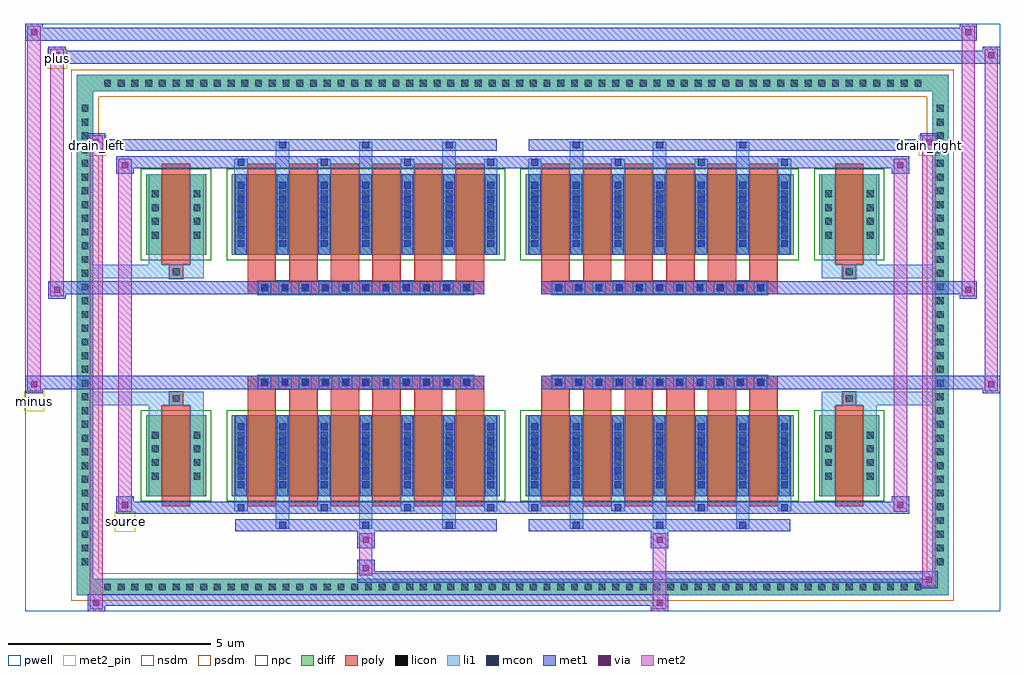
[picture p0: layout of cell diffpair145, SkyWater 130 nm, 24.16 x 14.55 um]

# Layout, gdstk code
import gdstk
lib = gdstk.Library(unit=1e-6, precision=5e-09)
def R(c, l, rs):  # rectangles x0, y0, x1, y1
    for r in rs: c.add(gdstk.rectangle(r[:2], r[2:], *l))
def A(c, l, x, y, w, h, nx, ny, dx, dy):  # array of equal rectangles
    R(c, l, [(x+i*dx, y+j*dy, x+i*dx+w, y+j*dy+h) for i in range(nx) for j in range(ny)])
def P(c, l, *ps):  # polygons
    for p in ps: c.add(gdstk.Polygon(p, *l))
pwell = (64, 44)
diff = (65, 20)
poly = (66, 20)
licon = (66, 44)
li1 = (67, 20)
mcon = (67, 44)
met1 = (68, 20)
via = (68, 44)
met2_pin = (69, 16)
met2 = (69, 20)
nsdm = (93, 44)
psdm = (94, 20)
npc = (95, 20)

diffpair145 = lib.new_cell('diffpair145')
R(diffpair145, pwell, [(-12.06,-6.84,12.06,7.71), (-9.38,-5.03,-0.01,-0.805), (0.01,-5.03,9.38,-0.805), (-9.38,0.805,-0.01,5.03), (0.01,0.805,9.38,5.03)])
A(diffpair145, diff, -10.235, -6.44, 0.41, 0.41, 60, 2, 0.34, 12.47)
A(diffpair145, diff, -10.79, -5.815, 0.41, 0.41, 1, 34, 0, 0.34)
A(diffpair145, diff, 10.38, -5.815, 0.41, 0.41, 1, 34, 0, 0.34)
R(diffpair145, diff, [(-10.235,-6.44,10.235,-6.03), (-10.79,-5.815,-10.38,5.815), (10.38,-5.815,10.79,5.815), (-9.07,-3.985,-7.59,-1.985), (-6.95,-3.985,-0.32,-1.985), (0.32,-3.985,6.95,-1.985), (7.59,-3.985,9.07,-1.985), (-9.07,1.985,-7.59,3.985), (-6.95,1.985,-0.32,3.985), (0.32,1.985,6.95,3.985), (7.59,1.985,9.07,3.985), (-10.235,6.03,10.235,6.44)])
P(diffpair145, diff, [(10.79,6.44),(-10.79,6.44),(-10.79,-6.03),(-10.38,-6.03),(-10.38,6.03),(10.38,6.03),(10.38,-6.03),(-10.38,-6.03),(-10.79,-6.03),(-10.79,-6.44),(10.79,-6.44)])
A(diffpair145, poly, -6.56, -4.235, 0.7, 2.5, 6, 2, 1.03, 5.97)
A(diffpair145, poly, 0.71, -4.235, 0.7, 2.5, 6, 2, 1.03, 5.97)
A(diffpair145, poly, -6.56, -1.735, 0.7, 0.4, 6, 2, 1.03, 3.07)
A(diffpair145, poly, 0.71, -1.735, 0.7, 0.4, 6, 2, 1.03, 3.07)
A(diffpair145, poly, -6.3, -1.335, 0.33, 0.33, 11, 2, 0.5, 2.34)
A(diffpair145, poly, 0.97, -1.335, 0.33, 0.33, 11, 2, 0.5, 2.34)
R(diffpair145, poly, [(-8.68,-4.235,-7.98,-1.735), (7.98,-4.235,8.68,-1.735), (-8.495,-1.735,-8.165,-1.405), (-8.495,-1.735,-8.165,-1.405), (8.165,-1.735,8.495,-1.405), (8.165,-1.735,8.495,-1.405), (-6.56,-1.335,-0.71,-1.005), (0.71,-1.335,6.56,-1.005), (-6.56,1.005,-0.71,1.335), (0.71,1.005,6.56,1.335), (-8.495,1.405,-8.165,1.735), (-8.495,1.405,-8.165,1.735), (8.165,1.405,8.495,1.735), (8.165,1.405,8.495,1.735), (-8.68,1.735,-7.98,4.235), (7.98,1.735,8.68,4.235)])
A(diffpair145, licon, -10.115, -6.32, 0.17, 0.17, 60, 2, 0.34, 12.47)
A(diffpair145, licon, -10.67, -5.695, 0.17, 0.17, 1, 34, 0, 0.34)
A(diffpair145, licon, 10.5, -5.695, 0.17, 0.17, 1, 34, 0, 0.34)
A(diffpair145, licon, -8.93, -3.58, 0.17, 0.17, 1, 4, 0, 0.34)
A(diffpair145, licon, -7.9, -3.58, 0.17, 0.17, 1, 4, 0, 0.34)
A(diffpair145, licon, -6.81, -3.58, 0.17, 0.17, 7, 4, 1.03, 0.34)
A(diffpair145, licon, 0.46, -3.58, 0.17, 0.17, 7, 4, 1.03, 0.34)
A(diffpair145, licon, 7.73, -3.58, 0.17, 0.17, 1, 4, 0, 0.34)
A(diffpair145, licon, 8.76, -3.58, 0.17, 0.17, 1, 4, 0, 0.34)
A(diffpair145, licon, -6.22, -1.255, 0.17, 0.17, 11, 2, 0.5, 2.34)
A(diffpair145, licon, 1.05, -1.255, 0.17, 0.17, 11, 2, 0.5, 2.34)
A(diffpair145, licon, -8.93, 2.39, 0.17, 0.17, 1, 4, 0, 0.34)
A(diffpair145, licon, -7.9, 2.39, 0.17, 0.17, 1, 4, 0, 0.34)
A(diffpair145, licon, -6.81, 2.39, 0.17, 0.17, 7, 4, 1.03, 0.34)
A(diffpair145, licon, 0.46, 2.39, 0.17, 0.17, 7, 4, 1.03, 0.34)
A(diffpair145, licon, 7.73, 2.39, 0.17, 0.17, 1, 4, 0, 0.34)
A(diffpair145, licon, 8.76, 2.39, 0.17, 0.17, 1, 4, 0, 0.34)
R(diffpair145, licon, [(-8.415,-1.655,-8.245,-1.485), (8.245,-1.655,8.415,-1.485), (-8.415,1.485,-8.245,1.655), (8.245,1.485,8.415,1.655)])
A(diffpair145, li1, -10.195, -6.4, 0.33, 0.33, 60, 2, 0.34, 12.47)
A(diffpair145, li1, -10.75, -5.775, 0.33, 0.33, 1, 34, 0, 0.34)
A(diffpair145, li1, 10.42, -5.775, 0.33, 0.33, 1, 34, 0, 0.34)
A(diffpair145, li1, -5.86, -4.79, 0.33, 0.805, 3, 2, 2.06, 8.775)
A(diffpair145, li1, -5.78, -4.79, 0.17, 0.17, 3, 2, 2.06, 9.41)
A(diffpair145, li1, 1.41, -4.79, 0.33, 0.805, 3, 2, 2.06, 8.775)
A(diffpair145, li1, 1.49, -4.79, 0.17, 0.17, 3, 2, 2.06, 9.41)
A(diffpair145, li1, -6.89, -4.36, 0.33, 0.375, 4, 2, 2.06, 8.345)
A(diffpair145, li1, -6.81, -4.36, 0.17, 0.17, 4, 2, 2.06, 8.55)
A(diffpair145, li1, 0.38, -4.36, 0.33, 0.375, 4, 2, 2.06, 8.345)
A(diffpair145, li1, 0.46, -4.36, 0.17, 0.17, 4, 2, 2.06, 8.55)
A(diffpair145, li1, -6.89, -3.985, 0.33, 2, 7, 2, 1.03, 5.97)
A(diffpair145, li1, 0.38, -3.985, 0.33, 2, 7, 2, 1.03, 5.97)
A(diffpair145, li1, -6.81, -3.79, 0.17, 0.17, 7, 5, 1.03, 0.36)
A(diffpair145, li1, -6.81, -3.79, 0.17, 1.61, 7, 2, 1.03, 5.97)
A(diffpair145, li1, 0.46, -3.79, 0.17, 0.17, 7, 5, 1.03, 0.36)
A(diffpair145, li1, 0.46, -3.79, 0.17, 1.61, 7, 2, 1.03, 5.97)
A(diffpair145, li1, -9.01, -3.66, 0.33, 0.33, 1, 4, 0, 0.34)
A(diffpair145, li1, -7.98, -3.66, 0.33, 0.33, 1, 4, 0, 0.34)
A(diffpair145, li1, -6.89, -3.66, 0.33, 0.33, 7, 4, 1.03, 0.34)
A(diffpair145, li1, 0.38, -3.66, 0.33, 0.33, 7, 4, 1.03, 0.34)
A(diffpair145, li1, 7.65, -3.66, 0.33, 0.33, 1, 4, 0, 0.34)
A(diffpair145, li1, 8.68, -3.66, 0.33, 0.33, 1, 4, 0, 0.34)
A(diffpair145, li1, -6.3, -1.335, 0.33, 0.33, 11, 2, 0.5, 2.34)
A(diffpair145, li1, 0.97, -1.335, 0.33, 0.33, 11, 2, 0.5, 2.34)
A(diffpair145, li1, -6.81, 2.18, 0.17, 0.17, 7, 5, 1.03, 0.36)
A(diffpair145, li1, 0.46, 2.18, 0.17, 0.17, 7, 5, 1.03, 0.36)
A(diffpair145, li1, -9.01, 2.31, 0.33, 0.33, 1, 4, 0, 0.34)
A(diffpair145, li1, -7.98, 2.31, 0.33, 0.33, 1, 4, 0, 0.34)
A(diffpair145, li1, -6.89, 2.31, 0.33, 0.33, 7, 4, 1.03, 0.34)
A(diffpair145, li1, 0.38, 2.31, 0.33, 0.33, 7, 4, 1.03, 0.34)
A(diffpair145, li1, 7.65, 2.31, 0.33, 0.33, 1, 4, 0, 0.34)
A(diffpair145, li1, 8.68, 2.31, 0.33, 0.33, 1, 4, 0, 0.34)
R(diffpair145, li1, [(-10.79,-6.44,-10.38,-6.03), (-10.79,-6.44,-10.38,-6.03), (-10.38,-6.44,10.38,-6.03), (10.38,-6.44,10.79,-6.03), (10.38,-6.44,10.79,-6.03), (-10.79,-6.03,-10.38,6.03), (10.38,-6.03,10.79,6.03), (-9.01,-3.985,-8.68,-1.985), (-7.98,-3.985,-7.65,-1.985), (7.65,-3.985,7.98,-1.985), (8.68,-3.985,9.01,-1.985), (-9.01,-1.985,-8.68,-1.405), (-7.98,-1.985,-7.65,-1.405), (7.65,-1.985,7.98,-1.405), (8.68,-1.985,9.01,-1.405), (-10.79,-1.735,-8.495,-1.405), (-9.01,-1.735,-8.495,-1.405), (-8.495,-1.735,-8.165,-1.405), (-8.165,-1.735,-7.65,-1.405), (7.65,-1.735,8.165,-1.405), (8.165,-1.735,8.495,-1.405), (8.165,-1.735,10.79,-1.405), (8.495,-1.735,9.01,-1.405), (-10.79,1.405,-8.495,1.735), (-9.01,1.405,-8.495,1.735), (-9.01,1.405,-8.68,1.985), (-8.495,1.405,-8.165,1.735), (-8.165,1.405,-7.65,1.735), (-7.98,1.405,-7.65,1.985), (7.65,1.405,8.165,1.735), (7.65,1.405,7.98,1.985), (8.165,1.405,8.495,1.735), (8.165,1.405,10.79,1.735), (8.495,1.405,9.01,1.735), (8.68,1.405,9.01,1.985), (-9.01,1.985,-8.68,3.985), (-7.98,1.985,-7.65,3.985), (7.65,1.985,7.98,3.985), (8.68,1.985,9.01,3.985), (-10.79,6.03,-10.38,6.44), (-10.79,6.03,-10.38,6.44), (-10.38,6.03,10.38,6.44), (10.38,6.03,10.79,6.44), (10.38,6.03,10.79,6.44)])
A(diffpair145, mcon, -5.78, -4.79, 0.17, 0.17, 3, 2, 2.06, 9.41)
A(diffpair145, mcon, 1.49, -4.79, 0.17, 0.17, 3, 2, 2.06, 9.41)
A(diffpair145, mcon, -6.81, -4.36, 0.17, 0.17, 4, 2, 2.06, 8.55)
A(diffpair145, mcon, 0.46, -4.36, 0.17, 0.17, 4, 2, 2.06, 8.55)
A(diffpair145, mcon, -6.81, -3.79, 0.17, 0.17, 7, 5, 1.03, 0.36)
A(diffpair145, mcon, 0.46, -3.79, 0.17, 0.17, 7, 5, 1.03, 0.36)
A(diffpair145, mcon, -6.22, -1.255, 0.17, 0.17, 11, 2, 0.5, 2.34)
A(diffpair145, mcon, 1.05, -1.255, 0.17, 0.17, 11, 2, 0.5, 2.34)
A(diffpair145, mcon, -6.81, 2.18, 0.17, 0.17, 7, 5, 1.03, 0.36)
A(diffpair145, mcon, 0.46, 2.18, 0.17, 0.17, 7, 5, 1.03, 0.36)
A(diffpair145, met1, -5.84, -4.85, 0.29, 0.29, 3, 2, 2.06, 9.41)
A(diffpair145, met1, 1.43, -4.85, 0.29, 0.29, 3, 2, 2.06, 9.41)
A(diffpair145, met1, -6.87, -4.42, 0.29, 0.29, 4, 2, 2.06, 8.55)
A(diffpair145, met1, 0.4, -4.42, 0.29, 0.29, 4, 2, 2.06, 8.55)
A(diffpair145, met1, -6.87, -3.985, 0.29, 2, 7, 2, 1.03, 5.97)
A(diffpair145, met1, 0.4, -3.985, 0.29, 2, 7, 2, 1.03, 5.97)
A(diffpair145, met1, -6.87, -3.85, 0.29, 0.29, 7, 5, 1.03, 0.36)
A(diffpair145, met1, 0.4, -3.85, 0.29, 0.29, 7, 5, 1.03, 0.36)
A(diffpair145, met1, -6.28, -1.315, 0.29, 0.29, 11, 2, 0.5, 2.34)
A(diffpair145, met1, 0.99, -1.315, 0.29, 0.29, 11, 2, 0.5, 2.34)
A(diffpair145, met1, -6.87, 2.12, 0.29, 0.29, 7, 5, 1.03, 0.36)
A(diffpair145, met1, 0.4, 2.12, 0.29, 0.29, 7, 5, 1.03, 0.36)
R(diffpair145, met1, [(-10.52,-6.84,-10.09,-6.41), (3.42,-6.84,3.85,-6.41), (-10.52,-6.7,3.85,-6.41), (10.09,-6.27,10.52,-5.84), (-3.85,-6.13,10.52,-5.84), (-3.85,-5.99,-3.42,-5.56), (-3.85,-5.28,-3.42,-4.85), (3.42,-5.28,3.85,-4.85), (-6.87,-4.85,-0.4,-4.56), (0.4,-4.85,6.87,-4.56), (-9.81,-4.42,-9.38,-3.99), (-9.81,-4.42,-6.87,-4.13), (-6.87,-4.42,-0.4,-4.13), (-0.4,-4.42,0.4,-4.13), (0.4,-4.42,6.87,-4.13), (6.87,-4.42,9.81,-4.13), (9.38,-4.42,9.81,-3.99), (-12.06,-1.435,-11.63,-1.005), (11.63,-1.435,12.06,-1.005), (-12.06,-1.335,-0.71,-1.005), (-6.56,-1.335,-0.71,-1.005), (0.71,-1.335,6.56,-1.005), (0.71,-1.335,12.06,-1.005), (-11.49,0.905,-11.06,1.335), (11.06,0.905,11.49,1.335), (-11.49,1.005,-6.56,1.335), (-6.56,1.005,-0.71,1.335), (0.71,1.005,6.56,1.335), (6.56,1.005,11.49,1.335), (-9.81,3.99,-9.38,4.42), (9.38,3.99,9.81,4.42), (-9.81,4.13,-6.87,4.42), (-6.87,4.13,-0.4,4.42), (-0.4,4.13,0.4,4.42), (0.4,4.13,6.87,4.42), (6.87,4.13,9.81,4.42), (-10.52,4.56,-10.09,4.99), (-10.52,4.56,-6.87,4.85), (-6.87,4.56,-0.4,4.85), (0.4,4.56,6.87,4.85), (6.87,4.56,10.52,4.85), (10.09,4.56,10.52,4.99), (-11.49,6.71,-11.06,7.14), (-11.49,6.71,-9.38,7.04), (-9.38,6.71,9.38,7.04), (9.38,6.71,12.06,7.04), (11.63,6.71,12.06,7.14), (-12.06,7.28,-11.63,7.71), (-12.06,7.28,-9.38,7.61), (-9.38,7.28,9.38,7.61), (9.38,7.28,11.49,7.61), (11.06,7.28,11.49,7.71)])
R(diffpair145, via, [(-10.38,-6.7,-10.23,-6.55), (3.56,-6.7,3.71,-6.55), (10.23,-6.13,10.38,-5.98), (-3.71,-5.85,-3.56,-5.7), (-3.71,-5.14,-3.56,-4.99), (3.56,-5.14,3.71,-4.99), (-9.67,-4.28,-9.52,-4.13), (9.52,-4.28,9.67,-4.13), (-11.92,-1.295,-11.77,-1.145), (11.77,-1.295,11.92,-1.145), (-11.35,1.045,-11.2,1.195), (11.2,1.045,11.35,1.195), (-9.67,4.13,-9.52,4.28), (9.52,4.13,9.67,4.28), (-10.38,4.7,-10.23,4.85), (10.23,4.7,10.38,4.85), (-11.35,6.85,-11.2,7), (11.77,6.85,11.92,7), (-11.92,7.42,-11.77,7.57), (11.2,7.42,11.35,7.57)])
R(diffpair145, met2_pin, [(-9.845,-4.87,-9.345,-4.37), (-12.095,-1.885,-11.595,-1.385), (-10.555,4.44,-10.055,4.94), (10.055,4.44,10.555,4.94), (-11.525,6.59,-11.025,7.09)])
R(diffpair145, met2, [(-10.47,-6.79,-10.14,-6.46), (-10.47,-6.79,-10.14,4.94), (3.47,-6.79,3.8,-6.46), (3.47,-6.46,3.8,-5.23), (10.14,-6.22,10.47,-5.89), (10.14,-6.22,10.47,4.94), (-3.8,-5.94,-3.47,-5.61), (-3.8,-5.61,-3.47,-5.23), (-3.8,-5.23,-3.47,-4.9), (3.47,-5.23,3.8,-4.9), (-9.76,-4.37,-9.43,-4.04), (-9.76,-4.37,-9.43,4.37), (9.43,-4.37,9.76,-4.04), (9.43,-4.37,9.76,4.37), (-12.01,-1.385,-11.68,-1.055), (-12.01,-1.385,-11.68,7.66), (11.68,-1.385,12.01,-1.055), (11.68,-1.385,12.01,7.09), (-11.44,0.955,-11.11,1.285), (-11.44,0.955,-11.11,7.09), (11.11,0.955,11.44,1.285), (11.11,0.955,11.44,7.66), (-9.76,4.04,-9.43,4.37), (9.43,4.04,9.76,4.37), (-10.47,4.61,-10.14,4.94), (10.14,4.61,10.47,4.94), (-11.44,6.76,-11.11,7.09), (11.68,6.76,12.01,7.09), (-12.01,7.33,-11.68,7.66), (11.11,7.33,11.44,7.66)])
P(diffpair145, met2, [(12.01,-1.385),(12.01,-1.385),(12.01,-1.055),(12.01,-1.055)],
  [(12.01,6.76),(12.01,6.76),(12.01,7.09),(12.01,7.09)],
  [(-11.68,-1.385),(-11.68,-1.385),(-11.68,-1.055),(-11.68,-1.055)],
  [(-11.68,7.33),(-11.68,7.33),(-11.68,7.66),(-11.68,7.66)],
  [(11.44,0.955),(11.44,0.955),(11.44,1.285),(11.44,1.285)],
  [(11.44,7.33),(11.44,7.33),(11.44,7.66),(11.44,7.66)],
  [(-11.11,0.955),(-11.11,0.955),(-11.11,1.285),(-11.11,1.285)],
  [(-11.11,6.76),(-11.11,6.76),(-11.11,7.09),(-11.11,7.09)],
  [(-10.14,-6.79),(-10.14,-6.79),(-10.14,-6.46),(-10.14,-6.46)],
  [(-10.14,4.61),(-10.14,4.61),(-10.14,4.94),(-10.14,4.94)],
  [(10.47,-6.22),(10.47,-6.22),(10.47,-5.89),(10.47,-5.89)],
  [(10.47,4.61),(10.47,4.61),(10.47,4.94),(10.47,4.94)],
  [(-9.43,-4.37),(-9.43,-4.37),(-9.43,-4.04),(-9.43,-4.04)],
  [(-9.43,4.04),(-9.43,4.04),(-9.43,4.37),(-9.43,4.37)],
  [(9.76,-4.37),(9.76,-4.37),(9.76,-4.04),(9.76,-4.04)],
  [(9.76,4.04),(9.76,4.04),(9.76,4.37),(9.76,4.37)])
R(diffpair145, nsdm, [(-9.2,-4.115,-7.46,-1.855), (-7.08,-4.115,-0.19,-1.855), (0.19,-4.115,7.08,-1.855), (7.46,-4.115,9.2,-1.855), (-9.2,1.855,-7.46,4.115), (-7.08,1.855,-0.19,4.115), (0.19,1.855,7.08,4.115), (7.46,1.855,9.2,4.115)])
P(diffpair145, psdm, [(10.92,6.57),(-10.92,6.57),(-10.92,-5.9),(-10.25,-5.9),(-10.25,5.9),(10.25,5.9),(10.25,-5.9),(-10.25,-5.9),(-10.92,-5.9),(-10.92,-6.57),(10.92,-6.57)])
A(diffpair145, npc, -6.32, -1.355, 0.37, 0.37, 11, 2, 0.5, 2.34)
A(diffpair145, npc, 0.95, -1.355, 0.37, 0.37, 11, 2, 0.5, 2.34)
R(diffpair145, npc, [(-8.515,-1.755,-8.145,-1.385), (8.145,-1.755,8.515,-1.385), (-6.32,-1.355,-5.45,-0.985), (-6.32,-1.355,-5.45,-0.985), (-5.82,-1.355,-4.95,-0.985), (-5.82,-1.355,-4.95,-0.985), (-5.32,-1.355,-4.45,-0.985), (-5.32,-1.355,-4.45,-0.985), (-4.82,-1.355,-3.95,-0.985), (-4.82,-1.355,-3.95,-0.985), (-4.32,-1.355,-3.45,-0.985), (-4.32,-1.355,-3.45,-0.985), (-3.82,-1.355,-2.95,-0.985), (-3.82,-1.355,-2.95,-0.985), (-3.32,-1.355,-2.45,-0.985), (-3.32,-1.355,-2.45,-0.985), (-2.82,-1.355,-1.95,-0.985), (-2.82,-1.355,-1.95,-0.985), (-2.32,-1.355,-1.45,-0.985), (-2.32,-1.355,-1.45,-0.985), (-1.82,-1.355,-0.95,-0.985), (-1.82,-1.355,-0.95,-0.985), (0.95,-1.355,1.82,-0.985), (0.95,-1.355,1.82,-0.985), (1.45,-1.355,2.32,-0.985), (1.45,-1.355,2.32,-0.985), (1.95,-1.355,2.82,-0.985), (1.95,-1.355,2.82,-0.985), (2.45,-1.355,3.32,-0.985), (2.45,-1.355,3.32,-0.985), (2.95,-1.355,3.82,-0.985), (2.95,-1.355,3.82,-0.985), (3.45,-1.355,4.32,-0.985), (3.45,-1.355,4.32,-0.985), (3.95,-1.355,4.82,-0.985), (3.95,-1.355,4.82,-0.985), (4.45,-1.355,5.32,-0.985), (4.45,-1.355,5.32,-0.985), (4.95,-1.355,5.82,-0.985), (4.95,-1.355,5.82,-0.985), (5.45,-1.355,6.32,-0.985), (5.45,-1.355,6.32,-0.985), (-6.32,0.985,-5.45,1.355), (-6.32,0.985,-5.45,1.355), (-5.82,0.985,-4.95,1.355), (-5.82,0.985,-4.95,1.355), (-5.32,0.985,-4.45,1.355), (-5.32,0.985,-4.45,1.355), (-4.82,0.985,-3.95,1.355), (-4.82,0.985,-3.95,1.355), (-4.32,0.985,-3.45,1.355), (-4.32,0.985,-3.45,1.355), (-3.82,0.985,-2.95,1.355), (-3.82,0.985,-2.95,1.355), (-3.32,0.985,-2.45,1.355), (-3.32,0.985,-2.45,1.355), (-2.82,0.985,-1.95,1.355), (-2.82,0.985,-1.95,1.355), (-2.32,0.985,-1.45,1.355), (-2.32,0.985,-1.45,1.355), (-1.82,0.985,-0.95,1.355), (-1.82,0.985,-0.95,1.355), (0.95,0.985,1.82,1.355), (0.95,0.985,1.82,1.355), (1.45,0.985,2.32,1.355), (1.45,0.985,2.32,1.355), (1.95,0.985,2.82,1.355), (1.95,0.985,2.82,1.355), (2.45,0.985,3.32,1.355), (2.45,0.985,3.32,1.355), (2.95,0.985,3.82,1.355), (2.95,0.985,3.82,1.355), (3.45,0.985,4.32,1.355), (3.45,0.985,4.32,1.355), (3.95,0.985,4.82,1.355), (3.95,0.985,4.82,1.355), (4.45,0.985,5.32,1.355), (4.45,0.985,5.32,1.355), (4.95,0.985,5.82,1.355), (4.95,0.985,5.82,1.355), (5.45,0.985,6.32,1.355), (5.45,0.985,6.32,1.355), (-8.515,1.385,-8.145,1.755), (8.145,1.385,8.515,1.755)])
diffpair145.add(gdstk.Label('minus', (-11.845,-1.635), layer=69, texttype=5))
diffpair145.add(gdstk.Label('drain_right', (10.305,4.69), layer=69, texttype=5))
diffpair145.add(gdstk.Label('drain_left', (-10.305,4.69), layer=69, texttype=5))
diffpair145.add(gdstk.Label('source', (-9.595,-4.62), layer=69, texttype=5))
diffpair145.add(gdstk.Label('plus', (-11.275,6.84), layer=69, texttype=5))

lib.write_gds('diffpair145.gds')
